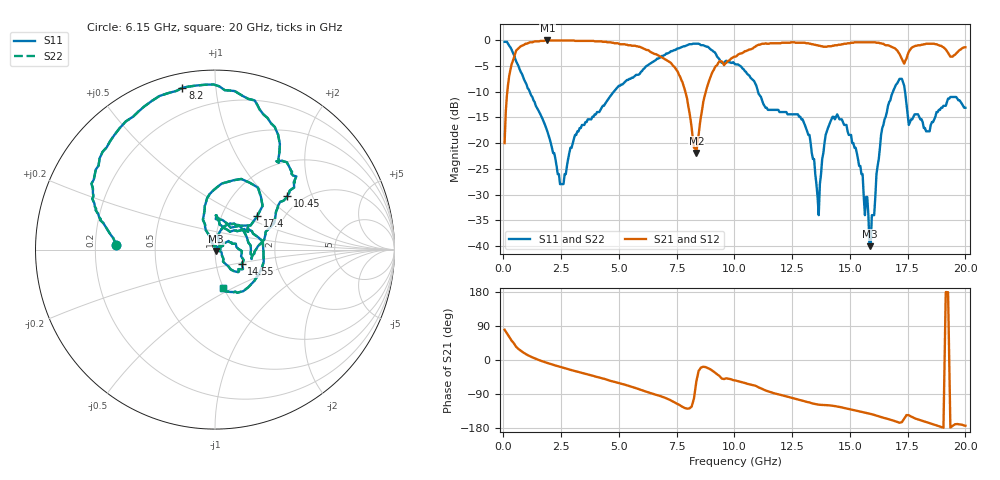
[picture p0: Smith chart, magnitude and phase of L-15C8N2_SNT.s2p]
# MHZ S MA R 50
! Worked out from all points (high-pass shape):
!   400 points, 50 MHz to 20 GHz, reference 50 ohm
!   highest |S21| = -0.09 dB at 1.9 GHz (marker M1); lowest = -21.9 dB at 8.35 GHz (marker M2)
!   |S21| within 3 dB of the highest: 476.3 MHz to 6.746 GHz (6.269 GHz wide, 174 % of centre); 10.1 GHz to 17.19 GHz (7.084 GHz wide, 51.9 % of centre) (the widest 2 of 4)
!   lowest |S11| = -40.0 dB at 15.85 GHz (marker M3), VSWR 1.02, Z = 50.6 - j0.769 ohm
!   |S11| at or under -10 dB: 1.134 GHz to 4.781 GHz (3.647 GHz wide, 123 % of centre); 11.02 GHz to 16.87 GHz (5.844 GHz wide, 41.9 % of centre); 17.39 GHz to end of sweep
!   |S22| runs from -40.0 to -0.4 dB; largest |S21 - S12| = 0
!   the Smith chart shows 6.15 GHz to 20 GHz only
!   S11 on the Smith chart (normalised r, x): 6.15 GHz: 0.29, +0.02; 8.2 GHz: 0.07, +0.82; 10.45 GHz: 1.68, +1.33; 14.55 GHz: 1.33, -0.22; 17.4 GHz: 1.47, +0.60; 20 GHz: 0.99, -0.45
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50  0.96 173.8  0.1 79.8  0.1 79.8  0.96 173.8
1900  0.13 91.0  0.99 -7.8  0.99 -7.8  0.13 91.0
3400  0.15 -134.9  0.98 -34.1  0.98 -34.1  0.15 -134.9
6050  0.52 -179.7  0.83 -81.0  0.83 -81.0  0.52 -179.7
6100  0.53 -1.1  0.82 -81.9  0.82 -81.9  0.53 -1.1
6150  0.55 177.4  0.81 -82.8  0.81 -82.8  0.55 177.4
6700  0.66 165.0  0.71 -93.5  0.71 -93.5  0.66 165.0
8200  0.92 101.4  0.11 -112.0  0.11 -112.0  0.92 101.4
8350  0.92 94.1  0.08 -57.3  0.08 -57.3  0.92 94.1
10050  0.58 40.1  0.69 -54.1  0.69 -54.1  0.58 40.1
10450  0.5 36.4  0.78 -60.4  0.78 -60.4  0.5 36.4
13350  0.08 78.2  0.91 -114.2  0.91 -114.2  0.08 78.2
14550  0.17 -28.6  0.9 -123.8  0.9 -123.8  0.17 -28.6
15850  0.01 -49.4  0.95 -141.6  0.95 -141.6  0.01 -49.4
16700  0.25 103.1  0.88 -156.6  0.88 -156.6  0.25 103.1
17400  0.3 38.4  0.63 -150.1  0.63 -150.1  0.3 38.4
19050  0.23 26.5  0.85 -178.6  0.85 -178.6  0.23 26.5
19100  0.23 24.6  0.83 0.3  0.83 0.3  0.23 24.6
19150  0.23 22.7  0.81 179.3  0.81 179.3  0.23 22.7
19300  0.27 -2.3  0.72 0.3  0.72 0.3  0.27 -2.3
19350  0.28 -14.1  0.69 -178.1  0.69 -178.1  0.28 -14.1
20000  0.22 -78.4  0.85 -173.4  0.85 -173.4  0.22 -78.4
